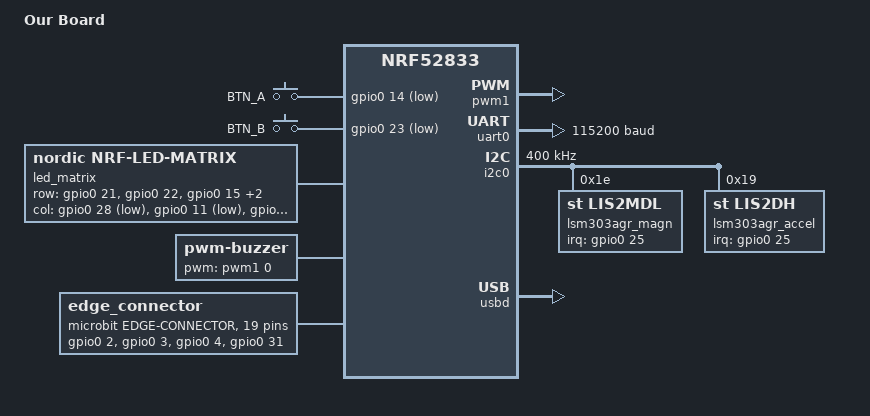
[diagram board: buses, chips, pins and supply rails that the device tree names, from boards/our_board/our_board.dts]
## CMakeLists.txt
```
cmake_minimum_required(VERSION 3.20.0)

#list(APPEND EXTRA_DTC_OVERLAY_FILE ${CMAKE_CURRENT_SOURCE_DIR}/boards/app.overlay)
list(APPEND BOARD_ROOT ${CMAKE_CURRENT_SOURCE_DIR})
find_package(Zephyr REQUIRED)
project(my_zephyr_app)

target_sources(app PRIVATE src/main.cpp)
```

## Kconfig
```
menuconfig LED_SUBSYSTEM
	bool "LED Subsystem"
	default y

if LED_SUBSYSTEM

choice
	prompt "LED blink sleep time"
	default BLINK_SLEEP_1000MS

config BLINK_SLEEP_250MS
	bool "250ms (fast)"

config BLINK_SLEEP_1000MS
	bool "1s (medium)"

config BLINK_SLEEP_2000MS
	bool "2s (slow)"
endchoice #LED blink

config APP_HEARTBEAT_PERIOD_MS
	int "LED sleep duration (ms)"
	range 100 2000
	default 500

menuconfig LED_ADVANCED
	bool "Advanced LED Settings"
	default n

if LED_ADVANCED

config LED_BRIGHTNESS
	int "LED brightness (0-100)"
	range 0 100
	default 100

config LED_FADE
	int "LED fade duration (ms)"
	range 0 5000
	default 500

menu "Expert settings"
visible if LED_ADVANCED

config LED_DEBUG
	bool "Enable LED debugging"
	# Does NOT get depends on LED_ADVANCED!

config CUSTOM_BLINK
	bool "Custom blink pattern"
endmenu

endif # LED_SETTINGS

endif # LED_SUBSYSTEM

source "Kconfig.zephyr"
```

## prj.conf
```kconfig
CONFIG_GPIO=y
CONFIG_LOG=y
CONFIG_DISPLAY=y
CONFIG_MICROBIT_DISPLAY=y
```

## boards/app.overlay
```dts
/ {
	aliases {
		app-led = &led_matrix;
	};
};
```

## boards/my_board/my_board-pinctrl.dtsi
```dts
/*
 * SPDX-License-Identifier: Apache-2.0
 */

&pinctrl {
	uart0_default: uart0_default {
		group1 {
			psels = <NRF_PSEL(UART_TX, 0, 6)>,
				<NRF_PSEL(UART_RX, 1, 8)>;
		};
	};

	uart0_sleep: uart0_sleep {
		group1 {
			psels = <NRF_PSEL(UART_TX, 0, 6)>,
				<NRF_PSEL(UART_RX, 1, 8)>;
			low-power-enable;
		};
	};
};
```

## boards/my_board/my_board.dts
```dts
/*
 * Copyright (c) 2020 Lingao Meng
 *
 * SPDX-License-Identifier: Apache-2.0
 */

/dts-v1/;
#include <nordic/nrf52833_qiaa.dtsi>
#include "my_board-pinctrl.dtsi"

/ {
	model = "My Board";
	compatible = "iomico,my-board";

	chosen {
		zephyr,console = &uart0;
		zephyr,shell-uart = &uart0;
		zephyr,sram = &sram0;
		zephyr,flash = &flash0;
		zephyr,code-partition = &slot0_partition;
	};

};

&flash0 {
	partitions {
		ranges;
		#address-cells = <1>;
		#size-cells = <1>;

		boot_partition: partition@0 {
			compatible = "zephyr,mapped-partition";
			label = "mcuboot";
			reg = <0x00000000 0xc000>;
		};

		slot0_partition: partition@c000 {
			compatible = "zephyr,mapped-partition";
			label = "image-0";
			reg = <0x0000c000 0x32000>;
		};

		slot1_partition: partition@3e000 {
			compatible = "zephyr,mapped-partition";
			label = "image-1";
			reg = <0x0003e000 0x32000>;
		};

		scratch_partition: partition@70000 {
			compatible = "zephyr,mapped-partition";
			label = "image-scratch";
			reg = <0x00070000 0xa000>;
		};

		storage_partition: partition@7a000 {
			compatible = "zephyr,mapped-partition";
			label = "storage";
			reg = <0x0007a000 0x00006000>;
		};
	};
};

&uart0 {
	compatible = "nordic,nrf-uart";
	status = "okay";
	current-speed = <115200>;
	pinctrl-0 = <&uart0_default>;
	pinctrl-1 = <&uart0_sleep>;
	pinctrl-names = "default", "sleep";
};
```

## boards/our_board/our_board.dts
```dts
/*
 * Copyright (c) 2020 Lingao Meng
 *
 * SPDX-License-Identifier: Apache-2.0
 */

/dts-v1/;
#include <nordic/nrf52833_qiaa.dtsi>
#include "our_board-pinctrl.dtsi"
#include <zephyr/dt-bindings/input/input-event-codes.h>
#include <zephyr/dt-bindings/pwm/pwm.h>

/ {
	model = "Our Board";
	compatible = "iomico,our-board";

	/* These aliases are provided for compatibility with samples */
	aliases {
		sw0 = &buttonA;
		sw1 = &buttonB;
		magn0 = &lsm303agr_magn;
		accel0 = &lsm303agr_accel;
		buzzer0 = &buzzer;
		watchdog0 = &wdt0;
	};

	chosen {
		zephyr,console = &uart0;
		zephyr,shell-uart = &uart0;
		zephyr,bt-mon-uart = &uart0;
		zephyr,bt-c2h-uart = &uart0;
		zephyr,sram = &sram0;
		zephyr,flash = &flash0;
		zephyr,code-partition = &slot0_partition;
		zephyr,display = &led_matrix;
	};

	gpio_keys {
		compatible = "gpio-keys";

		buttonA: button_0 {
			label = "BTN_A";
			gpios = <&gpio0 14 GPIO_ACTIVE_LOW>;
			zephyr,code = <INPUT_KEY_A>;
		};

		buttonB: button_1 {
			label = "BTN_B";
			gpios = <&gpio0 23 GPIO_ACTIVE_LOW>;
			zephyr,code = <INPUT_KEY_B>;
		};
	};

	led_matrix: led_matrix {
		compatible = "nordic,nrf-led-matrix";
		status = "okay";
		width = <5>;
		height = <5>;
		pixel-mapping = [00 01 02 03 04
				 10 11 12 13 14
				 20 21 22 23 24
				 30 31 32 33 34
				 40 41 42 43 44];
		row-gpios = <&gpio0 21 GPIO_ACTIVE_HIGH>,
			    <&gpio0 22 GPIO_ACTIVE_HIGH>,
			    <&gpio0 15 GPIO_ACTIVE_HIGH>,
			    <&gpio0 24 GPIO_ACTIVE_HIGH>,
			    <&gpio0 19 GPIO_ACTIVE_HIGH>;
		col-gpios = <&gpio0 28 GPIO_ACTIVE_LOW>,
			    <&gpio0 11 GPIO_ACTIVE_LOW>,
			    <&gpio0 31 GPIO_ACTIVE_LOW>,
			    <&gpio1 5 GPIO_ACTIVE_LOW>,
			    <&gpio0 30 GPIO_ACTIVE_LOW>;
		refresh-frequency = <50>;
		timer = <&timer4>;
		pwm = <&pwm0>;
		pixel-group-size = <4>;
	};

	buzzer: buzzer {
		compatible = "pwm-buzzer";
		pwms = <&pwm1 0 PWM_HZ(2700) PWM_POLARITY_NORMAL>;
	};

	edge_connector: connector {
		compatible = "microbit,edge-connector";
		#gpio-cells = <2>;
		gpio-map-mask = <0xffffffff 0xffffffc0>;
		gpio-map-pass-thru = <0 0x3f>;
		gpio-map = <0 0 &gpio0 2 0>,	/* P0 */
			   <1 0 &gpio0 3 0>,	/* P1 */
			   <2 0 &gpio0 4 0>,	/* P2 */
			   <3 0 &gpio0 31 0>,	/* P3 */
			   <4 0 &gpio0 28 0>,	/* P4 */
			   <5 0 &gpio0 14 0>,	/* P5 */
			   <6 0 &gpio1 5 0>,	/* P6 */
			   <7 0 &gpio0 11 0>,	/* P7 */
			   <8 0 &gpio0 10 0>,	/* P8 */
			   <9 0 &gpio0 9 0>,	/* P9 */
			   <10 0 &gpio0 30 0>,	/* P10 */
			   <11 0 &gpio0 23 0>,	/* P11 */
			   <12 0 &gpio0 12 0>,	/* P12 */
			   <13 0 &gpio0 17 0>,	/* P13 */
			   <14 0 &gpio0 1 0>,	/* P14 */
			   <15 0 &gpio0 13 0>,	/* P15 */
			   <16 0 &gpio1 2 0>,	/* P16 */
			   <19 0 &gpio0 26 0>,	/* P19 */
			   <20 0 &gpio1 0 0>;	/* P20 */
	};
};

&gpiote {
	status = "okay";
};

&gpio0 {
	status = "okay";
};

&gpio1 {
	status = "okay";
};

&pwm1 {
	/* buzzer */
	status = "okay";
	pinctrl-0 = <&pwm1_default>;
	pinctrl-1 = <&pwm1_sleep>;
	pinctrl-names = "default", "sleep";
};

&uart0 {
	compatible = "nordic,nrf-uart";
	status = "okay";
	current-speed = <115200>;
	pinctrl-0 = <&uart0_default>;
	pinctrl-1 = <&uart0_sleep>;
	pinctrl-names = "default", "sleep";
};

&i2c0 {
	compatible = "nordic,nrf-twim";
	status = "okay";
	clock-frequency = <I2C_BITRATE_FAST>;

	/* See https://tech.microbit.org/hardware/i2c/ for board variants */

	pinctrl-0 = <&i2c0_default>;
	pinctrl-1 = <&i2c0_sleep>;
	pinctrl-names = "default", "sleep";

	lsm303agr_magn: lsm303agr-magn@1e {
		compatible = "st,lis2mdl", "st,lsm303agr-magn";
		status = "okay";
		reg = <0x1e>;
		irq-gpios = <&gpio0 25 GPIO_ACTIVE_HIGH>;	/* A3 */
	};

	lsm303agr_accel: lsm303agr-accel@19 {
		compatible = "st,lis2dh", "st,lsm303agr-accel";
		status = "okay";
		reg = <0x19>;
		irq-gpios = <&gpio0 25 GPIO_ACTIVE_HIGH>;
	};
};

&flash0 {
	partitions {
		ranges;
		#address-cells = <1>;
		#size-cells = <1>;

		boot_partition: partition@0 {
			compatible = "zephyr,mapped-partition";
			label = "mcuboot";
			reg = <0x00000000 0xc000>;
		};

		slot0_partition: partition@c000 {
			compatible = "zephyr,mapped-partition";
			label = "image-0";
			reg = <0x0000c000 0x32000>;
		};

		slot1_partition: partition@3e000 {
			compatible = "zephyr,mapped-partition";
			label = "image-1";
			reg = <0x0003e000 0x32000>;
		};

		scratch_partition: partition@70000 {
			compatible = "zephyr,mapped-partition";
			label = "image-scratch";
			reg = <0x00070000 0xa000>;
		};

		storage_partition: partition@7a000 {
			compatible = "zephyr,mapped-partition";
			label = "storage";
			reg = <0x0007a000 0x00006000>;
		};
	};
};

zephyr_udc0: &usbd {
	compatible = "nordic,nrf-usbd";
	status = "okay";
};
```

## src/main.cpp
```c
#include <zephyr/kernel.h>
#include <zephyr/logging/log.h>
#include <zephyr/display/mb_display.h>

#define SLEEP_TIME_MS 1000
#define LED_NODE DT_ALIAS(app_led)

LOG_MODULE_REGISTER(main, LOG_LEVEL_INF);

static const struct mb_image pixel_on = MB_IMAGE(
    { 0, 0, 0, 0, 0 },
    { 0, 0, 0, 0, 0 },
    { 0, 0, 1, 0, 0 },
    { 0, 0, 0, 0, 0 },
    { 0, 0, 0, 0, 0 });

static const struct mb_image pixel_off = MB_IMAGE(
    { 0, 0, 0, 0, 0 },
    { 0, 0, 0, 0, 0 },
    { 0, 0, 0, 0, 0 },
    { 0, 0, 0, 0, 0 },
    { 0, 0, 0, 0, 0 });

int main(void)
{
#if DT_NODE_HAS_STATUS(LED_NODE, okay)
    LOG_INF("LED alias app-led present");
#else
    LOG_INF("LED alias app-led NOT present");
#endif
    struct mb_display *disp = mb_display_get();
    bool led_state = true;

    while (1) {
        const struct mb_image *img = led_state ? &pixel_on : &pixel_off;
        mb_display_image(disp, MB_DISPLAY_MODE_SINGLE, SYS_FOREVER_MS, img, 1);
        LOG_INF("LED state: %s", led_state ? "ON" : "OFF");
        led_state = !led_state;
        k_msleep(CONFIG_APP_HEARTBEAT_PERIOD_MS);
    }
    return 0;
}
```
